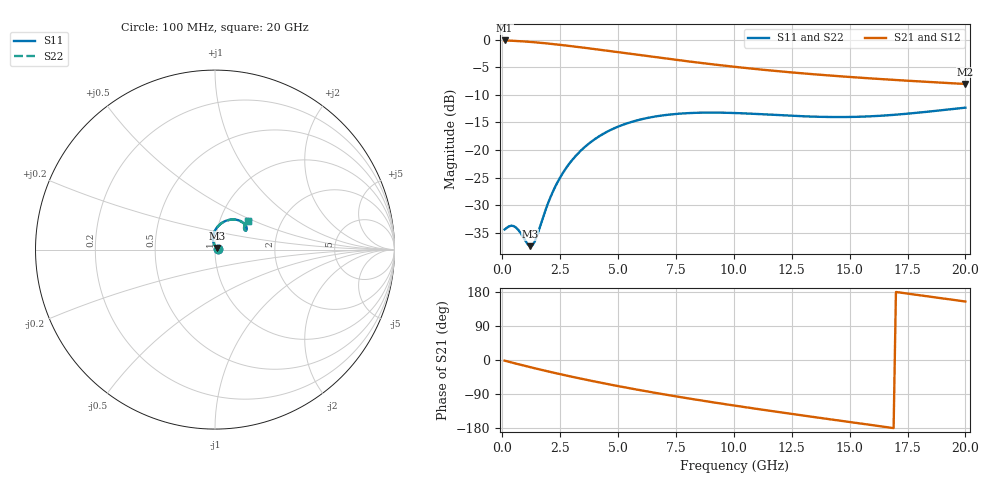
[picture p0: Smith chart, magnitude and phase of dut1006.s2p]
! Touchstone file exported from HFSS 2024.1.0
!  File:  C:/UserFiles/LocalFiles/RDL_TSV_Batchsim/temp_RDL_TSV_1006_1780077428.aedt
!  Generated:  02:11:28 AM May 30, 2026
!  Design:  RDL_TSV
!  Project:  temp_RDL_TSV_1006_1780077428
!  Setup:  Setup1
!  Solution:  Sweep
! Variables:
!  dtsv = 6.96um
!  hbump = 3um
!  htsv = 62.8um
!  ldown = 620.57um
!  lrdl = 332.7um
!  p = 40
!  p1 = 42.67um
!  rhole = 10um
!  subl = 3192.51um
!  t = 450um
!  tdown = 2.48um
!  trdl = 2.22um
!  viad = 10um
!  wdown = 29.87um
!  wrdl = 24.07um
!  xbump = 18um
# GHz S MA R 50.000000
! Terminal data exported
! Port[1] = TM1_1_T1
! Port[2] = TM1_4_T1
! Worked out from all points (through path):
!   200 points, 100 MHz to 20 GHz, reference 50 ohm
!   highest |S21| = -0.17 dB at 100 MHz (marker M1); lowest = -8.0 dB at 20 GHz (marker M2)
!   group delay of S21, straight-line fit = 27.3 ps
!   lowest |S11| = -37.4 dB at 1.2 GHz (marker M3), VSWR 1.03, Z = 50.9 + j0.994 ohm
!   |S11| at or under -10 dB: start of sweep to end of sweep
!   |S22| runs from -37.4 to -12.4 dB; largest |S21 - S12| = 1.7e-14
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0.1  0.01907 4.9  0.9807 -1.7  0.9807 -1.7  0.01907 4.9
! Gamma 0 0 0 0
! Port Impedance 50 0 50 0
0.3  0.02041 9.9  0.9773 -5.0  0.9773 -5.0  0.02042 9.9
0.5  0.02043 11.3  0.9728 -8.1  0.9728 -8.1  0.02043 11.3
0.7  0.0188 13.8  0.9676 -11.2  0.9676 -11.2  0.01881 13.8
1.1  0.01398 35.5  0.9554 -17.3  0.9554 -17.3  0.014 35.4
1.2  0.01347 46.4  0.9519 -18.8  0.9519 -18.8  0.01348 46.2
1.3  0.0137 58.6  0.9482 -20.3  0.9482 -20.3  0.0137 58.4
1.4  0.0148 70.4  0.9444 -21.8  0.9444 -21.8  0.01479 70.1
2  0.03394 100.9  0.9186 -30.5  0.9186 -30.5  0.03383 100.7
2.4  0.05175 101.7  0.8997 -36.1  0.8997 -36.1  0.05158 101.6
2.9  0.07547 97.7  0.8748 -42.8  0.8748 -42.8  0.07523 97.6
3.5  0.1036 90.7  0.8444 -50.6  0.8444 -50.6  0.1033 90.6
4.2  0.1337 82.0  0.8087 -59.3  0.8087 -59.3  0.1333 81.9
4.9  0.1594 73.7  0.7736 -67.7  0.7736 -67.7  0.1588 73.6
5.8  0.185 64.0  0.73 -77.9  0.73 -77.9  0.1843 63.9
6.8  0.2039 54.8  0.6845 -88.8  0.6845 -88.8  0.2031 54.7
8.4  0.2172 43.4  0.6202 -104.9  0.6202 -104.9  0.2162 43.3
10.1  0.2159 35.6  0.5641 -121.0  0.5641 -121.0  0.2149 35.6
11.7  0.2082 32.2  0.5217 -135.3  0.5217 -135.3  0.2071 32.1
13.4  0.2005 32.1  0.4856 -150.0  0.4856 -150.0  0.1994 32.1
16.7  0.2065 37.8  0.4338 -178.0  0.4338 -178.0  0.2055 37.9
20  0.2416 40.6  0.396 154.3  0.396 154.3  0.2408 40.6
